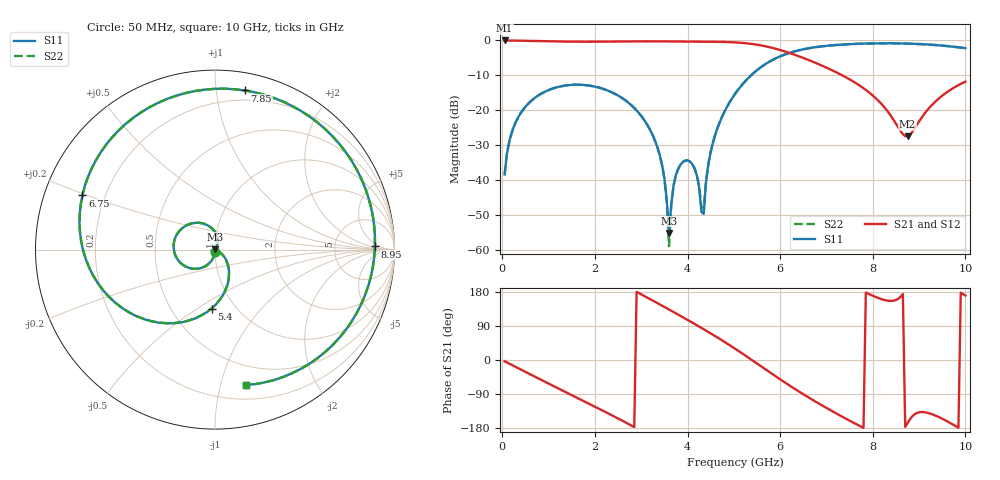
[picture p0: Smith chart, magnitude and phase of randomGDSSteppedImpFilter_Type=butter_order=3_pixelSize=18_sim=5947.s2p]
! freq	dB(S11)	phase(S11)	dB(S12)	phase(S12)
!  dB(S21)	phase(S21)	dB(S22)	phase(S22)
!S-par simulation data
#  GHz  S  DB  R 50
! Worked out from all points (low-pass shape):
!   200 points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, 50 MHz to 10 GHz, reference 50 ohm
!   highest |S21| = -0.01 dB at 50 MHz (marker M1); lowest = -27.5 dB at 8.75 GHz (marker M2)
!   |S21| within 3 dB of the highest: start of sweep to 6.066 GHz
!   lowest |S11| = -55.2 dB at 3.6 GHz (marker M3), VSWR 1.00, Z = 49.9 + j0.137 ohm
!   |S11| at or under -10 dB: start of sweep to 5.372 GHz
!   |S22| runs from -59.0 to -0.8 dB; largest |S21 - S12| = 0
!   S11 on the Smith chart (normalised r, x): 50 MHz: 1.00, -0.02; 5.4 GHz: 0.78, -0.57; 6.75 GHz: 0.12, +0.19; 7.85 GHz: 0.13, +1.20; 8.95 GHz: 17, +3; 10 GHz: 0.32, -1.21
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0.05  -38.43 -92.7  -0.01 -3.2  -0.01 -3.2  -38.43 -92.7
0.5  -19.01 -121.8  -0.10 -31.4  -0.10 -31.4  -19.01 -121.8
1.75  -12.75 161.8  -0.37 -107.7  -0.37 -107.7  -12.75 161.8
2.65  -17.10 106.3  -0.29 -163.9  -0.29 -163.9  -17.10 106.1
3.4  -32.89 61.0  -0.27 146.7  -0.27 146.7  -32.92 59.1
3.55  -45.58 64.5  -0.28 136.6  -0.28 136.6  -45.95 55.5
3.6  -55.19 127.9  -0.29 133.3  -0.29 133.3  -58.99 118.0
3.65  -46.69 -157.2  -0.29 129.9  -0.29 129.9  -46.95 -146.8
3.8  -36.75 -154.0  -0.30 119.7  -0.30 119.7  -36.75 -150.5
4.1  -35.43 -169.8  -0.33 98.9  -0.33 98.9  -35.39 -166.6
4.35  -49.75 -45.9  -0.35 81.2  -0.35 81.2  -48.05 -58.6
4.55  -29.22 -29.2  -0.37 66.6  -0.37 66.6  -29.20 -31.1
5.05  -14.88 -64.9  -0.58 28.0  -0.58 28.0  -14.88 -65.3
5.4  -9.66 -93.3  -1.02 -0.8  -1.02 -0.8  -9.66 -93.5
6  -4.56 -143.6  -2.74 -51.0  -2.74 -51.0  -4.55 -143.7
6.7  -2.06 161.5  -6.08 -105.1  -6.08 -105.1  -2.06 161.4
6.75  -1.96 157.8  -6.35 -108.8  -6.35 -108.8  -1.96 157.7
7.85  -0.90 79.4  -14.18 178.0  -14.18 178.0  -0.90 79.3
8.35  -0.82 44.1  -20.85 156.2  -20.85 156.2  -0.82 44.0
8.75  -0.91 15.5  -27.53 -166.5  -27.53 -166.5  -0.91 15.4
8.95  -1.00 1.1  -24.25 -140.0  -24.25 -140.0  -1.00 1.0
10  -2.22 -77.0  -11.82 170.0  -11.82 170.0  -2.22 -77.2
